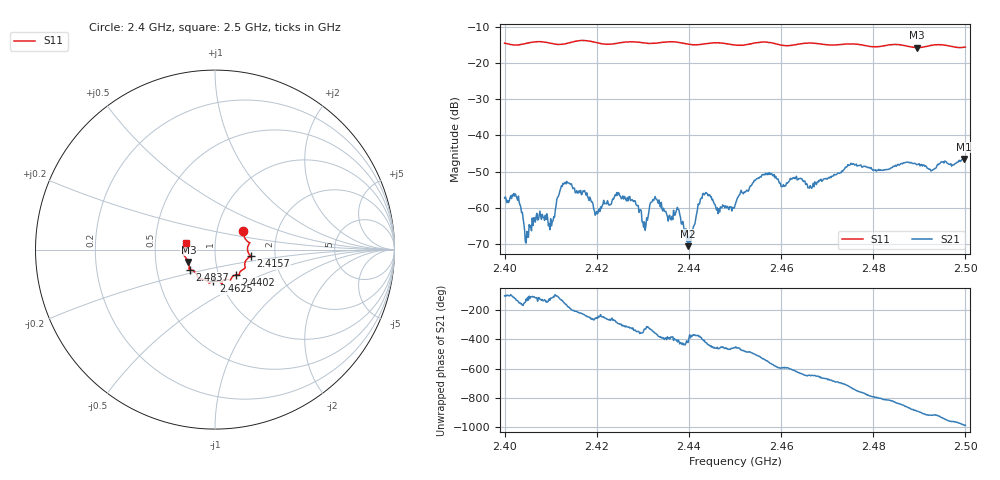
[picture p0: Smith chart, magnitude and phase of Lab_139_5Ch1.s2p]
# Hz S RI R 50
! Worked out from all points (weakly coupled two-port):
!   601 points, 2.4 GHz to 2.5 GHz, reference 50 ohm
!   highest |S21| = -46.51 dB at 2.4997 GHz (marker M1); lowest = -70.6 dB at 2.4398 GHz (marker M2)
!   lowest |S11| = -15.7 dB at 2.4895 GHz (marker M3), VSWR 1.39, Z = 36.8 - j5.17 ohm
!   |S11| at or under -10 dB: start of sweep to end of sweep
!   S12 and S22 are empty: the file has one direction only
!   S11 on the Smith chart (normalised r, x): 2.4 GHz: 1.33, +0.29; 2.4157 GHz: 1.49, -0.11; 2.4402 GHz: 1.20, -0.35; 2.4625 GHz: 0.92, -0.34; 2.4837 GHz: 0.74, -0.17; 2.5 GHz: 0.72, +0.05
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2.4e9  0.1567 0.1056  -0.000353 -0.00132  0 0  0 0
2.4025e9  0.1639 0.0682  -0.000997 -0.00106  0 0  0 0
2.404833e9  0.183 0.0438  -0.00035 -0.000317  0 0  0 0
2.41e9  0.1863 0.0255  -0.000361 -0.000609  0 0  0 0
2.412667e9  0.1823 -0.00745  -0.00176 -0.0013  0 0  0 0
2.415667e9  0.1987 -0.0363  -0.00148 0.000888  0 0  0 0
2.416667e9  0.2015 -0.0397  -0.0011 0.00104  0 0  0 0
2.419833e9  0.1873 -0.0452  -0.000194 0.000812  0 0  0 0
2.4275e9  0.1683 -0.1022  0.00104 0.000738  0 0  0 0
2.430333e9  0.1526 -0.1129  0.000557 0.000313  0 0  0 0
2.433333e9  0.1358 -0.1332  0.00109 -0.000391  0 0  0 0
2.439833e9  0.1173 -0.1399  0.000137 -0.000262  0 0  0 0
2.440167e9  0.1145 -0.1407  0.000352 -6.33e-05  0 0  0 0
2.4435e9  0.0902 -0.1612  0.000786 -0.00136  0 0  0 0
2.45e9  0.0639 -0.1658  -0.000164 -0.00107  0 0  0 0
2.4625e9  -0.00995 -0.1765  -0.000916 0.00242  0 0  0 0
2.466667e9  -0.033 -0.1862  0.000538 0.00179  0 0  0 0
2.483333e9  -0.1383 -0.1121  -0.000262 -0.00341  0 0  0 0
2.483667e9  -0.1401 -0.1117  -0.000483 -0.00343  0 0  0 0
2.4895e9  -0.1483 -0.0685  -0.00389 -0.000665  0 0  0 0
2.499667e9  -0.1625 0.0309  -0.000546 0.00469  0 0  0 0
2.5e9  -0.1628 0.0362  -0.000248 0.00471  0 0  0 0
